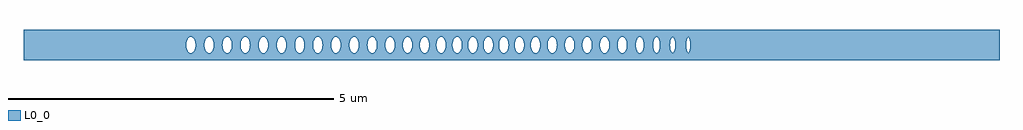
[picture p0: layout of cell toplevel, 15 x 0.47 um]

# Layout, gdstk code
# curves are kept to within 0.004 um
import gdstk
lib = gdstk.Library(unit=1e-6, precision=1e-09)
def P(c, l, *ps):  # polygons
    for p in ps: c.add(gdstk.Polygon(p, *l))
L0_0 = (0, 0)

toplevel = lib.new_cell('toplevel')
P(toplevel, L0_0, [(-4.441,0.016),(-4.431,0.068),(-4.408,0.108),(-4.408,0.234),(-7.5,0.234),(-7.5,-0.016),(-4.999,-0.016),(-4.996,0.039),(-4.985,0.075),(-4.962,0.112),(-4.927,0.128),(-4.9,0.119),(-4.877,0.093),(-4.859,0.047),(-4.855,-0.016),(-4.72,-0.016),(-4.718,0.032),(-4.707,0.075),(-4.683,0.112),(-4.648,0.128),(-4.621,0.119),(-4.602,0.098),(-4.587,0.068),(-4.576,0.016),(-4.579,-0.039),(-4.592,-0.081),(-4.621,-0.119),(-4.648,-0.128),(-4.675,-0.119),(-4.698,-0.093),(-4.712,-0.061),(-4.72,-0.016),(-4.855,-0.016),(-4.859,-0.047),(-4.877,-0.093),(-4.9,-0.119),(-4.927,-0.128),(-4.953,-0.119),(-4.973,-0.098),(-4.988,-0.068),(-4.999,-0.016),(-7.5,-0.016),(-7.5,-0.234),(-4.408,-0.234),(-4.408,-0.108),(-4.437,-0.047)],
  [(-3.884,0.016),(-3.88,0.047),(-3.862,0.093),(-3.839,0.119),(-3.812,0.128),(-3.812,0.234),(-4.408,0.234),(-4.408,0.108),(-4.396,0.119),(-4.369,0.128),(-4.343,0.119),(-4.331,0.108),(-4.302,0.047),(-4.298,-0.016),(-4.163,-0.016),(-4.16,0.039),(-4.147,0.081),(-4.118,0.119),(-4.091,0.128),(-4.064,0.119),(-4.041,0.093),(-4.025,0.054),(-4.018,0),(-4.025,-0.054),(-4.041,-0.093),(-4.064,-0.119),(-4.091,-0.128),(-4.118,-0.119),(-4.137,-0.098),(-4.152,-0.068),(-4.163,-0.016),(-4.298,-0.016),(-4.311,-0.075),(-4.343,-0.119),(-4.369,-0.128),(-4.396,-0.119),(-4.408,-0.108),(-4.408,-0.234),(-3.812,-0.234),(-3.812,-0.128),(-3.839,-0.119),(-3.862,-0.093),(-3.88,-0.047)],
  [(-3.812,0.234),(-3.812,0.128),(-3.786,0.119),(-3.759,0.087),(-3.743,0.039),(-3.74,-0.008),(-3.606,-0.008),(-3.601,0.047),(-3.583,0.093),(-3.56,0.119),(-3.534,0.128),(-3.507,0.119),(-3.487,0.098),(-3.472,0.068),(-3.461,0.008),(-3.466,-0.047),(-3.484,-0.093),(-3.507,-0.119),(-3.534,-0.128),(-3.56,-0.119),(-3.58,-0.098),(-3.595,-0.068),(-3.606,-0.008),(-3.74,-0.008),(-3.743,-0.039),(-3.759,-0.087),(-3.786,-0.119),(-3.812,-0.128),(-3.812,-0.234),(-3.189,-0.234),(-3.189,-0.054),(-3.205,-0.093),(-3.22,-0.112),(-3.241,-0.125),(-3.269,-0.125),(-3.29,-0.112),(-3.305,-0.093),(-3.321,-0.054),(-3.327,-0.016),(-3.321,0.054),(-3.305,0.093),(-3.282,0.119),(-3.255,0.128),(-3.228,0.119),(-3.205,0.093),(-3.189,0.054),(-3.189,0.234)],
  [(-2.491,0.016),(-2.488,0.234),(-3.189,0.234),(-3.189,0.053),(-3.183,-0.008),(-3.049,-0.008),(-3.044,0.047),(-3.026,0.093),(-3.003,0.119),(-2.976,0.128),(-2.942,0.112),(-2.918,0.075),(-2.906,0.032),(-2.905,-0.016),(-2.77,-0.016),(-2.767,0.039),(-2.754,0.081),(-2.733,0.112),(-2.698,0.128),(-2.671,0.119),(-2.648,0.093),(-2.63,0.047),(-2.625,0),(-2.63,-0.047),(-2.648,-0.093),(-2.671,-0.119),(-2.698,-0.128),(-2.724,-0.119),(-2.744,-0.098),(-2.759,-0.068),(-2.77,-0.016),(-2.905,-0.016),(-2.915,-0.068),(-2.93,-0.098),(-2.95,-0.119),(-2.976,-0.128),(-3.003,-0.119),(-3.023,-0.098),(-3.038,-0.068),(-3.049,-0.008),(-3.183,-0.008),(-3.189,-0.054),(-3.189,-0.234),(-2.488,-0.234)],
  [(-2.486,0.047),(-2.478,0.075),(-2.458,0.108),(-2.446,0.119),(-2.419,0.128),(-2.393,0.119),(-2.366,0.087),(-2.35,0.039),(-2.347,-0.008),(-2.214,-0.008),(-2.209,0.047),(-2.191,0.093),(-2.168,0.119),(-2.141,0.128),(-2.115,0.119),(-2.092,0.093),(-2.074,0.047),(-2.069,-0.008),(-2.074,-0.047),(-2.092,-0.093),(-2.115,-0.119),(-2.141,-0.128),(-2.168,-0.119),(-2.188,-0.098),(-2.203,-0.068),(-2.214,-0.008),(-2.347,-0.008),(-2.35,-0.039),(-2.366,-0.087),(-2.393,-0.119),(-2.419,-0.128),(-2.446,-0.119),(-2.462,-0.103),(-2.478,-0.075),(-2.488,-0.039),(-2.488,-0.234),(-1.867,-0.234),(-1.867,-0.128),(-1.894,-0.119),(-1.917,-0.093),(-1.939,-0.016),(-1.937,0.032),(-1.926,0.075),(-1.902,0.112),(-1.867,0.128),(-1.867,0.234),(-2.488,0.234)],
  [(-1.797,-0.032),(-1.808,-0.075),(-1.824,-0.103),(-1.84,-0.119),(-1.867,-0.128),(-1.867,-0.234),(-1.29,-0.234),(-1.29,-0.098),(-1.323,-0.125),(-1.336,-0.128),(-1.363,-0.119),(-1.383,-0.098),(-1.398,-0.068),(-1.409,-0.008),(-1.398,0.068),(-1.371,0.112),(-1.336,0.128),(-1.31,0.119),(-1.29,0.098),(-1.29,0.234),(-1.867,0.234),(-1.867,0.128),(-1.84,0.119),(-1.817,0.093),(-1.801,0.054),(-1.795,0),(-1.671,0),(-1.664,0.054),(-1.648,0.093),(-1.625,0.119),(-1.598,0.128),(-1.571,0.119),(-1.559,0.108),(-1.542,0.081),(-1.531,0.047),(-1.526,-0.016),(-1.537,-0.068),(-1.559,-0.108),(-1.585,-0.125),(-1.598,-0.128),(-1.625,-0.119),(-1.648,-0.093),(-1.664,-0.054),(-1.671,0),(-1.795,0)],
  [(-1.265,-0.024),(-1.275,-0.068),(-1.29,-0.098),(-1.29,-0.234),(-0.664,-0.234),(-0.664,0.234),(-1.29,0.234),(-1.29,0.098),(-1.269,0.047),(-1.264,-0.008),(-1.155,-0.008),(-1.15,0.047),(-1.132,0.093),(-1.109,0.119),(-1.082,0.128),(-1.047,0.112),(-1.026,0.081),(-1.013,0.039),(-1.01,-0.008),(-0.908,-0.008),(-0.903,0.047),(-0.878,0.103),(-0.849,0.125),(-0.835,0.128),(-0.809,0.119),(-0.789,0.098),(-0.774,0.068),(-0.765,0.032),(-0.763,-0.016),(-0.779,-0.081),(-0.796,-0.108),(-0.817,-0.123),(-0.849,-0.125),(-0.878,-0.103),(-0.899,-0.061),(-0.908,-0.008),(-1.01,-0.008),(-1.015,-0.047),(-1.033,-0.093),(-1.056,-0.119),(-1.082,-0.128),(-1.109,-0.119),(-1.132,-0.093),(-1.15,-0.047),(-1.155,-0.008),(-1.264,-0.008)],
  [(-0.19,0.016),(-0.186,0.047),(-0.168,0.093),(-0.153,0.112),(-0.132,0.125),(-0.132,0.234),(-0.664,0.234),(-0.664,0.032),(-0.653,0.075),(-0.633,0.108),(-0.608,0.125),(-0.589,0.127),(-0.559,0.112),(-0.535,0.075),(-0.525,0.039),(-0.522,-0.016),(-0.428,-0.016),(-0.425,0.039),(-0.412,0.081),(-0.391,0.112),(-0.356,0.128),(-0.329,0.119),(-0.306,0.093),(-0.29,0.054),(-0.283,0),(-0.29,-0.054),(-0.306,-0.093),(-0.329,-0.119),(-0.356,-0.128),(-0.382,-0.119),(-0.402,-0.098),(-0.417,-0.068),(-0.428,-0.016),(-0.522,-0.016),(-0.528,-0.054),(-0.544,-0.093),(-0.567,-0.119),(-0.594,-0.128),(-0.621,-0.119),(-0.644,-0.093),(-0.664,-0.032),(-0.664,-0.234),(-0.132,-0.234),(-0.132,-0.125),(-0.157,-0.108),(-0.18,-0.068),(-0.19,-0.024)],
  [(0.299,0.032),(0.31,0.075),(0.342,0.119),(0.369,0.128),(0.395,0.119),(0.407,0.108),(0.407,0.234),(-0.132,0.234),(-0.132,0.125),(-0.119,0.128),(-0.096,0.121),(-0.072,0.098),(-0.051,0.047),(-0.047,-0.016),(0.049,-0.016),(0.052,0.039),(0.065,0.081),(0.094,0.119),(0.121,0.128),(0.148,0.119),(0.171,0.093),(0.185,0.061),(0.193,0.016),(0.191,-0.032),(0.18,-0.075),(0.156,-0.112),(0.121,-0.128),(0.094,-0.119),(0.075,-0.098),(0.06,-0.068),(0.049,-0.016),(-0.047,-0.016),(-0.057,-0.068),(-0.072,-0.098),(-0.096,-0.121),(-0.119,-0.128),(-0.132,-0.125),(-0.132,-0.234),(0.407,-0.234),(0.407,-0.108),(0.395,-0.119),(0.369,-0.128),(0.342,-0.119),(0.326,-0.103),(0.301,-0.047),(0.296,-0.008)],
  [(0.407,0.234),(0.407,0.108),(0.436,0.047),(0.441,-0.016),(0.555,-0.016),(0.558,0.039),(0.571,0.081),(0.592,0.112),(0.627,0.128),(0.654,0.119),(0.677,0.093),(0.693,0.054),(0.699,-0.008),(0.821,-0.008),(0.826,0.047),(0.844,0.093),(0.867,0.119),(0.894,0.128),(0.92,0.119),(0.94,0.098),(0.955,0.068),(0.966,0.008),(0.961,-0.047),(0.943,-0.093),(0.92,-0.119),(0.894,-0.128),(0.867,-0.119),(0.847,-0.098),(0.832,-0.068),(0.821,-0.008),(0.699,-0.008),(0.693,-0.054),(0.677,-0.093),(0.654,-0.119),(0.627,-0.128),(0.601,-0.119),(0.581,-0.098),(0.566,-0.068),(0.555,-0.016),(0.441,-0.016),(0.43,-0.068),(0.407,-0.108),(0.407,-0.234),(1.09,-0.234),(1.09,0.234)],
  [(1.631,0.016),(1.644,0.075),(1.664,0.108),(1.664,0.234),(1.09,0.234),(1.09,0.008),(1.095,0.047),(1.113,0.093),(1.136,0.119),(1.162,0.128),(1.189,0.119),(1.212,0.093),(1.23,0.047),(1.234,-0.016),(1.359,-0.016),(1.362,0.039),(1.375,0.081),(1.396,0.112),(1.431,0.128),(1.458,0.119),(1.481,0.093),(1.499,0.047),(1.504,0.008),(1.499,-0.047),(1.481,-0.093),(1.458,-0.119),(1.431,-0.128),(1.405,-0.119),(1.385,-0.098),(1.37,-0.068),(1.359,-0.016),(1.234,-0.016),(1.224,-0.068),(1.209,-0.098),(1.185,-0.121),(1.162,-0.128),(1.149,-0.125),(1.128,-0.112),(1.113,-0.093),(1.095,-0.047),(1.09,-0.008),(1.09,-0.234),(1.664,-0.234),(1.664,-0.108),(1.637,-0.054)],
  [(2.179,0.023),(2.184,0.06),(2.202,0.104),(2.22,0.122),(2.24,0.122),(2.24,0.234),(1.664,0.234),(1.664,0.108),(1.676,0.119),(1.703,0.128),(1.73,0.119),(1.742,0.108),(1.759,0.081),(1.77,0.047),(1.775,-0.016),(1.91,-0.016),(1.914,0.046),(1.924,0.08),(1.949,0.117),(1.972,0.126),(1.999,0.114),(2.015,0.092),(2.027,0.061),(2.034,0.016),(2.03,-0.046),(2.015,-0.092),(1.999,-0.114),(1.972,-0.126),(1.949,-0.117),(1.932,-0.097),(1.918,-0.061),(1.91,-0.016),(1.775,-0.016),(1.759,-0.081),(1.73,-0.119),(1.703,-0.128),(1.676,-0.119),(1.664,-0.108),(1.664,-0.234),(2.24,-0.234),(2.24,-0.122),(2.214,-0.118),(2.194,-0.09),(2.178,-0.016)],
  [(2.281,-0.023),(2.266,-0.09),(2.24,-0.122),(2.24,-0.234),(7.5,-0.234),(7.5,0.234),(2.24,0.234),(2.24,0.122),(2.261,0.1),(2.276,0.06),(2.282,-0.015),(2.435,-0.015),(2.436,0.03),(2.446,0.083),(2.461,0.113),(2.474,0.122),(2.495,0.11),(2.511,0.072),(2.518,-0.022),(2.685,-0.022),(2.686,0.037),(2.703,0.109),(2.714,0.12),(2.722,0.118),(2.732,0.105),(2.742,0.071),(2.748,0.015),(2.746,-0.044),(2.737,-0.092),(2.718,-0.12),(2.71,-0.118),(2.699,-0.101),(2.685,-0.022),(2.518,-0.022),(2.504,-0.094),(2.49,-0.116),(2.479,-0.122),(2.466,-0.118),(2.452,-0.099),(2.435,-0.015),(2.282,-0.015)])

lib.write_gds('toplevel.gds')
